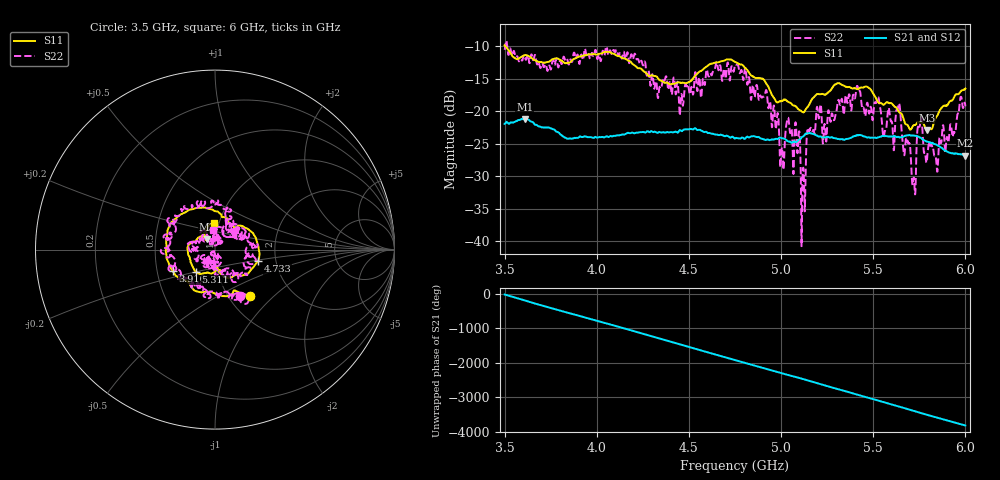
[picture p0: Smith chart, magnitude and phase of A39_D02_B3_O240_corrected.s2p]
! Created with skrf 1.9.0 (http://scikit-rf.org).
# Hz S RI R 50.0
!freq ReS11 ImS11 ReS21 ImS21 ReS12 ImS12 ReS22 ImS22
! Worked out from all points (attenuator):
!   1601 points, 3.5 GHz to 6 GHz, reference 50 ohm
!   highest |S21| = -21.21 dB at 3.609 GHz (marker M1); lowest = -26.8 dB at 6 GHz (marker M2)
!   lowest |S11| = -22.9 dB at 5.791 GHz (marker M3), VSWR 1.15, Z = 45.6 + j5.27 ohm
!   |S11| at or under -10 dB: 3.504 GHz to end of sweep
!   |S22| runs from -40.8 to -9.1 dB; largest |S21 - S12| = 0.00097
!   S11 on the Smith chart (normalised r, x): 3.5 GHz: 1.25, -0.71; 3.916 GHz: 0.61, -0.16; 4.733 GHz: 1.61, -0.22; 5.311 GHz: 0.78, -0.20; 6 GHz: 0.94, +0.29
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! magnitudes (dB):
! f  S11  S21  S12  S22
! 3.5 GHz  -9.9  -22.0  -21.9  -10.6
! 3.609 GHz  -11.4  -21.2  -21.2  -11.6
! 3.916 GHz  -11.6  -24.0  -23.9  -11.3
! 3.917 GHz  -11.6  -24.0  -24.0  -11.3
! 4.198 GHz  -12.9  -23.4  -23.3  -11.9
! 4.334 GHz  -15.1  -23.3  -23.2  -17.7
! 4.733 GHz  -12.1  -23.9  -23.9  -13.1
! 4.75 GHz  -12.4  -24.2  -24.1  -12.9
! 4.928 GHz  -16.1  -24.4  -24.3  -19.0
! 5.005 GHz  -18.4  -24.2  -24.2  -25.6
! 5.034 GHz  -18.5  -24.6  -24.5  -21.3
! 5.088 GHz  -19.5  -24.7  -24.7  -26.3
! 5.12 GHz  -20.2  -23.9  -23.8  -28.7
! 5.147 GHz  -19.3  -23.4  -23.4  -23.3
! 5.167 GHz  -18.2  -23.5  -23.4  -23.1
! 5.311 GHz  -15.7  -24.3  -24.2  -18.3
! 5.584 GHz  -18.8  -23.9  -23.9  -19.5
! 5.638 GHz  -20.0  -24.0  -23.9  -18.9
! 5.719 GHz  -22.2  -23.8  -23.7  -30.4
! 5.752 GHz  -21.7  -24.0  -24.0  -22.3
! 5.791 GHz  -22.9  -24.7  -24.6  -27.7
! 6 GHz  -16.5  -26.8  -26.8  -19.3
